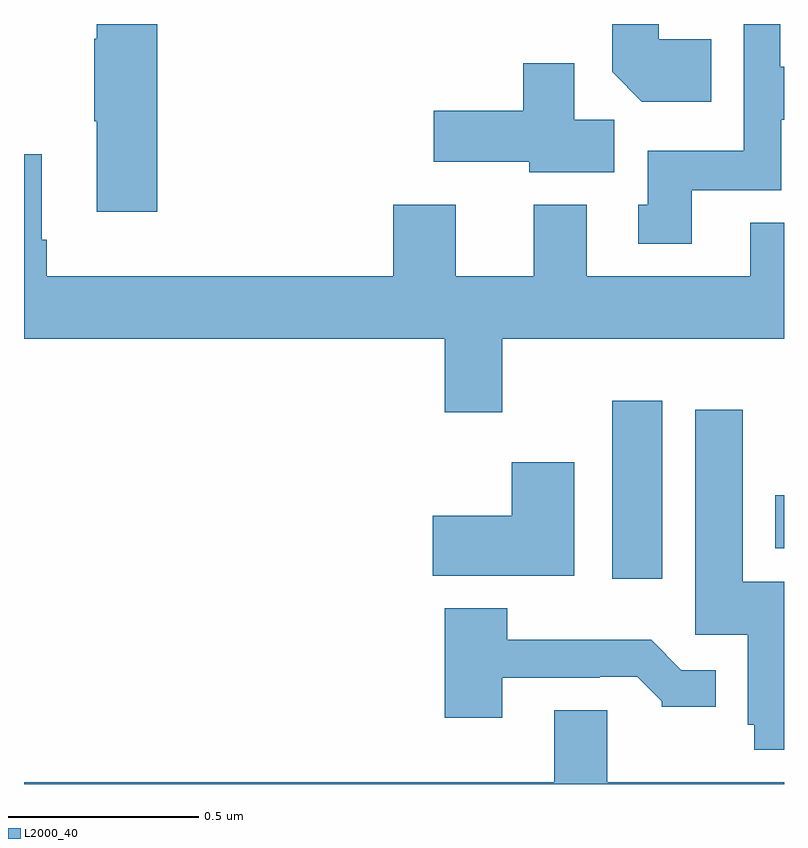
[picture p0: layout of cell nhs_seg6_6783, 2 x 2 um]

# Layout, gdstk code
import gdstk
lib = gdstk.Library(unit=1e-6, precision=1e-09)
def R(c, l, rs):  # rectangles x0, y0, x1, y1
    for r in rs: c.add(gdstk.rectangle(r[:2], r[2:], *l))
def P(c, l, *ps):  # polygons
    for p in ps: c.add(gdstk.Polygon(p, *l))
L2000_40 = (2000, 40)

nhs_seg6_6783 = lib.new_cell('nhs_seg6_6783')
R(nhs_seg6_6783, L2000_40, [(201.548,944.04,201.679,944.509), (201.977,944.12,202,944.26)])
P(nhs_seg6_6783, L2000_40, [(200.351,945.5),(200.192,945.5),(200.192,945.461),(200.185,945.461),(200.185,945.244),(200.192,945.244),(200.192,945.006),(200.351,945.006)],
  [(201.757,945.062),(201.993,945.062),(201.993,945.248),(202,945.248),(202,945.388),(201.99,945.388),(201.99,945.5),(201.894,945.5),(201.894,945.166),(201.641,945.166),(201.641,945.024),(201.617,945.024),(201.617,944.922),(201.757,944.922)],
  [(201.809,945.46),(201.67,945.46),(201.67,945.5),(201.548,945.5),(201.548,945.374),(201.626,945.296),(201.809,945.296)],
  [(201.553,945.248),(201.448,945.248),(201.448,945.397),(201.314,945.397),(201.314,945.272),(201.078,945.272),(201.078,945.137),(201.33,945.137),(201.33,945.11),(201.553,945.11)],
  [(201.259,944.672),(202,944.672),(202,944.977),(201.911,944.977),(201.911,944.836),(201.481,944.836),(201.481,945.025),(201.341,945.025),(201.341,944.836),(201.136,944.836),(201.136,945.025),(200.972,945.025),(200.972,944.836),(200.06,944.836),(200.06,944.932),(200.047,944.932),(200.047,945.157),(200,945.157),(200,944.672),(201.107,944.672),(201.107,944.478),(201.259,944.478)],
  [(202,944.032),(201.892,944.032),(201.892,944.485),(201.767,944.485),(201.767,943.893),(201.905,943.893),(201.905,943.656),(201.922,943.656),(201.922,943.59),(202,943.59)],
  [(201.448,944.347),(201.284,944.347),(201.284,944.206),(201.075,944.206),(201.075,944.048),(201.448,944.048)],
  [(201.259,943.779),(201.515,943.779),(201.515,943.782),(201.614,943.782),(201.678,943.718),(201.678,943.703),(201.82,943.703),(201.82,943.8),(201.729,943.8),(201.651,943.879),(201.272,943.879),(201.272,943.963),(201.107,943.963),(201.107,943.674),(201.259,943.674)],
  [(202,943.504),(201.535,943.504),(201.535,943.694),(201.395,943.694),(201.395,943.504),(200,943.504),(200,943.5),(202,943.5)])

lib.write_gds('nhs_seg6_6783.gds')
